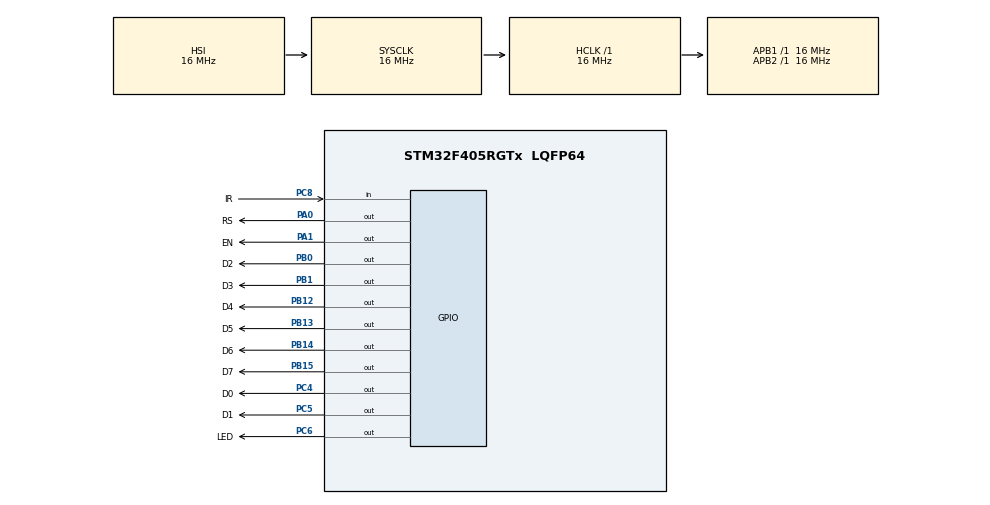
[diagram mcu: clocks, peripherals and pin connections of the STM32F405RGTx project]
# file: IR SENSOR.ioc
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Mcu.Family=STM32F4
Mcu.Name=STM32F405RGTx
Mcu.Package=LQFP64
NVIC.PriorityGroup=NVIC_PRIORITYGROUP_4
PA0-WKUP.GPIO_Label=RS
PA0-WKUP.Signal=GPIO_Output
PA1.GPIO_Label=EN
PA1.Signal=GPIO_Output
PA13.Mode=Serial_Wire
PA13.Signal=SYS_JTMS-SWDIO
PA14.Mode=Serial_Wire
PA14.Signal=SYS_JTCK-SWCLK
PB0.GPIO_Label=D2
PB0.Signal=GPIO_Output
PB1.GPIO_Label=D3
PB1.Signal=GPIO_Output
PB12.GPIO_Label=D4
PB12.Signal=GPIO_Output
PB13.GPIO_Label=D5
PB13.Signal=GPIO_Output
PB14.GPIO_Label=D6
PB14.Signal=GPIO_Output
PB15.GPIO_Label=D7
PB15.Signal=GPIO_Output
PC14-OSC32_IN.Mode=LSE-External-Oscillator
PC14-OSC32_IN.Signal=RCC_OSC32_IN
PC15-OSC32_OUT.Mode=LSE-External-Oscillator
PC15-OSC32_OUT.Signal=RCC_OSC32_OUT
PC4.GPIO_Label=D0
PC4.Signal=GPIO_Output
PC5.GPIO_Label=D1
PC5.Signal=GPIO_Output
PC6.GPIO_Label=LED
PC6.Signal=GPIO_Output
PC8.GPIO_Label=IR
PC8.Signal=GPIO_Input
PH0-OSC_IN.Mode=HSE-External-Oscillator
PH0-OSC_IN.Signal=RCC_OSC_IN
PH1-OSC_OUT.Mode=HSE-External-Oscillator
PH1-OSC_OUT.Signal=RCC_OSC_OUT
ProjectManager.HeapSize=0x200
ProjectManager.StackSize=0x400
ProjectManager.TargetToolchain=STM32CubeIDE
RCC.AHBFreq_Value=16000000
RCC.APB1Freq_Value=16000000
RCC.APB2Freq_Value=16000000
RCC.CortexFreq_Value=16000000
RCC.HSE_VALUE=25000000
RCC.HSI_VALUE=16000000
RCC.SYSCLKFreq_VALUE=16000000
RCC.VCOOutputFreq_Value=192000000
board=custom

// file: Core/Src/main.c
/* USER CODE BEGIN Header */
/**
  ******************************************************************************
  * @file           : main.c
  * @brief          : Main program body
  ******************************************************************************
  * @attention
  *
  * Copyright (c) 2023 STMicroelectronics.
  * All rights reserved.
  *
  * This software is licensed under terms that can be found in the LICENSE file
  * in the root directory of this software component.
  * If no LICENSE file comes with this software, it is provided AS-IS.
  *
  ******************************************************************************
  */
/* USER CODE END Header */
#include "main.h"

void SystemClock_Config(void);
static void MX_GPIO_Init(void);
/* USER CODE BEGIN PFP */
void LCDinit();
void input(unsigned char *x);
void Numericdata(unsigned int a);
void Data(unsigned char z);
void cmd(unsigned char y);
/* USER CODE END PFP */

int main(void)
{
  /* USER CODE BEGIN 1 */
   unsigned int count=0;
   unsigned int irstate;
   unsigned int state = 1;

  /* USER CODE END 1 */

  /* MCU Configuration--------------------------------------------------------*/

  /* Reset of all peripherals, Initializes the Flash interface and the Systick. */
  HAL_Init();

  /* Configure the system clock */
  SystemClock_Config();

  /* Initialize all configured peripherals */
  MX_GPIO_Init();
  /* USER CODE BEGIN 2 */
  LCDinit();
  /* USER CODE END 2 */

  /* Infinite loop */
  /* USER CODE BEGIN WHILE */
  while (1)
  {
	  irstate=HAL_GPIO_ReadPin(GPIOC,IR_Pin);
	  if(irstate==0 && state==1)
	  {
		  count++;
	  }
	  state=irstate;
	  /*if(HAL_GPIO_ReadPin(GPIOC,IR_Pin)==1)
	 	  {
	 		  HAL_GPIO_WritePin(GPIOC,LED_Pin,1);
	 	  }*/
	  cmd(0x80);
	  input("COUNT:");
	  Numericdata(count);
    /* USER CODE END WHILE */

  }
}

void SystemClock_Config(void)
{
  RCC_OscInitTypeDef RCC_OscInitStruct = {0};
  RCC_ClkInitTypeDef RCC_ClkInitStruct = {0};

  /** Configure the main internal regulator output voltage
  */
  __HAL_RCC_PWR_CLK_ENABLE();
  __HAL_PWR_VOLTAGESCALING_CONFIG(PWR_REGULATOR_VOLTAGE_SCALE1);

  /** Initializes the RCC Oscillators according to the specified parameters
  * in the RCC_OscInitTypeDef structure.
  */
  RCC_OscInitStruct.OscillatorType = RCC_OSCILLATORTYPE_HSI;
  RCC_OscInitStruct.HSIState = RCC_HSI_ON;
  RCC_OscInitStruct.HSICalibrationValue = RCC_HSICALIBRATION_DEFAULT;
  RCC_OscInitStruct.PLL.PLLState = RCC_PLL_NONE;
  if (HAL_RCC_OscConfig(&RCC_OscInitStruct) != HAL_OK)
  {
    Error_Handler();
  }

  /** Initializes the CPU, AHB and APB buses clocks
  */
  RCC_ClkInitStruct.ClockType = RCC_CLOCKTYPE_HCLK|RCC_CLOCKTYPE_SYSCLK
                              |RCC_CLOCKTYPE_PCLK1|RCC_CLOCKTYPE_PCLK2;
  RCC_ClkInitStruct.SYSCLKSource = RCC_SYSCLKSOURCE_HSI;
  RCC_ClkInitStruct.AHBCLKDivider = RCC_SYSCLK_DIV1;
  RCC_ClkInitStruct.APB1CLKDivider = RCC_HCLK_DIV1;
  RCC_ClkInitStruct.APB2CLKDivider = RCC_HCLK_DIV1;

  if (HAL_RCC_ClockConfig(&RCC_ClkInitStruct, FLASH_LATENCY_0) != HAL_OK)
  {
    Error_Handler();
  }
}

static void MX_GPIO_Init(void)
{
  GPIO_InitTypeDef GPIO_InitStruct = {0};

  /* GPIO Ports Clock Enable */
  __HAL_RCC_GPIOC_CLK_ENABLE();
  __HAL_RCC_GPIOH_CLK_ENABLE();
  __HAL_RCC_GPIOA_CLK_ENABLE();
  __HAL_RCC_GPIOB_CLK_ENABLE();

  /*Configure GPIO pin Output Level */
  HAL_GPIO_WritePin(GPIOA, RS_Pin|EN_Pin, GPIO_PIN_RESET);

  /*Configure GPIO pin Output Level */
  HAL_GPIO_WritePin(GPIOC, D0_Pin|D1_Pin|LED_Pin, GPIO_PIN_RESET);

  /*Configure GPIO pin Output Level */
  HAL_GPIO_WritePin(GPIOB, D2_Pin|D3_Pin|D4_Pin|D5_Pin
                          |D6_Pin|D7_Pin, GPIO_PIN_RESET);

  /*Configure GPIO pins : RS_Pin EN_Pin */
  GPIO_InitStruct.Pin = RS_Pin|EN_Pin;
  GPIO_InitStruct.Mode = GPIO_MODE_OUTPUT_PP;
  GPIO_InitStruct.Pull = GPIO_NOPULL;
  GPIO_InitStruct.Speed = GPIO_SPEED_FREQ_LOW;
  HAL_GPIO_Init(GPIOA, &GPIO_InitStruct);

  /*Configure GPIO pins : D0_Pin D1_Pin LED_Pin */
  GPIO_InitStruct.Pin = D0_Pin|D1_Pin|LED_Pin;
  GPIO_InitStruct.Mode = GPIO_MODE_OUTPUT_PP;
  GPIO_InitStruct.Pull = GPIO_NOPULL;
  GPIO_InitStruct.Speed = GPIO_SPEED_FREQ_LOW;
  HAL_GPIO_Init(GPIOC, &GPIO_InitStruct);

  /*Configure GPIO pins : D2_Pin D3_Pin D4_Pin D5_Pin
                           D6_Pin D7_Pin */
  GPIO_InitStruct.Pin = D2_Pin|D3_Pin|D4_Pin|D5_Pin
                          |D6_Pin|D7_Pin;
  GPIO_InitStruct.Mode = GPIO_MODE_OUTPUT_PP;
  GPIO_InitStruct.Pull = GPIO_NOPULL;
  GPIO_InitStruct.Speed = GPIO_SPEED_FREQ_LOW;
  HAL_GPIO_Init(GPIOB, &GPIO_InitStruct);

  /*Configure GPIO pin : IR_Pin */
  GPIO_InitStruct.Pin = IR_Pin;
  GPIO_InitStruct.Mode = GPIO_MODE_INPUT;
  GPIO_InitStruct.Pull = GPIO_NOPULL;
  HAL_GPIO_Init(IR_GPIO_Port, &GPIO_InitStruct);

}

/* USER CODE BEGIN 4 */
void LCDinit()
{
    HAL_Delay(10);
    cmd(0x38);
    cmd(0x0E);
    cmd(0x06);
    cmd(0x01);
    cmd(0x0C);
    HAL_Delay(10);

}
void cmd(unsigned char y)
{
	 HAL_GPIO_WritePin(GPIOA, RS_Pin,0);
	 HAL_GPIO_WritePin(GPIOB, D7_Pin,(y & 0x80));
	 HAL_GPIO_WritePin(GPIOB, D6_Pin,(y & 0x40));
	 HAL_GPIO_WritePin(GPIOB, D5_Pin,(y & 0x20));
	 HAL_GPIO_WritePin(GPIOB, D4_Pin,(y & 0x10));
	 HAL_GPIO_WritePin(GPIOB, D3_Pin,(y & 0x08));
	 HAL_GPIO_WritePin(GPIOB, D2_Pin,(y & 0x04));
	 HAL_GPIO_WritePin(GPIOC, D1_Pin,(y & 0x02));
	 HAL_GPIO_WritePin(GPIOC, D0_Pin,(y & 0x01));
	 HAL_GPIO_WritePin(GPIOA, EN_Pin,1);
	 HAL_Delay(20);
	 HAL_GPIO_WritePin(GPIOA, EN_Pin,0);
	 HAL_Delay(20);

}
void Data(unsigned char z)
{
	     HAL_GPIO_WritePin(GPIOA, RS_Pin,1);
		 HAL_GPIO_WritePin(GPIOB, D7_Pin,(z & 0x80));
		 HAL_GPIO_WritePin(GPIOB, D6_Pin,(z & 0x40));
		 HAL_GPIO_WritePin(GPIOB, D5_Pin,(z & 0x20));
		 HAL_GPIO_WritePin(GPIOB, D4_Pin,(z & 0x10));
		 HAL_GPIO_WritePin(GPIOB, D3_Pin,(z & 0x08));
		 HAL_GPIO_WritePin(GPIOB, D2_Pin,(z & 0x04));
		 HAL_GPIO_WritePin(GPIOC, D1_Pin,(z & 0x02));
		 HAL_GPIO_WritePin(GPIOC, D0_Pin,(z & 0x01));
		 HAL_GPIO_WritePin(GPIOA, EN_Pin,1);
		 HAL_Delay(20);
		 HAL_GPIO_WritePin(GPIOA, EN_Pin,0);
		 HAL_Delay(20);
}
void Numericdata(unsigned int a)
{
	Data(((a%10000)/1000)+0x30);
	Data(((a%1000)/100)+0x30);
	Data(((a%100)/10)+0x30);
	Data(((a%10))+0x30);
}
void input(unsigned char *x)
{
	while(*x)
	{
		Data(*x++);
		HAL_Delay(20);
	}
}
/* USER CODE END 4 */

void Error_Handler(void)
{
  __disable_irq();
  while (1)
  {
  }
}
